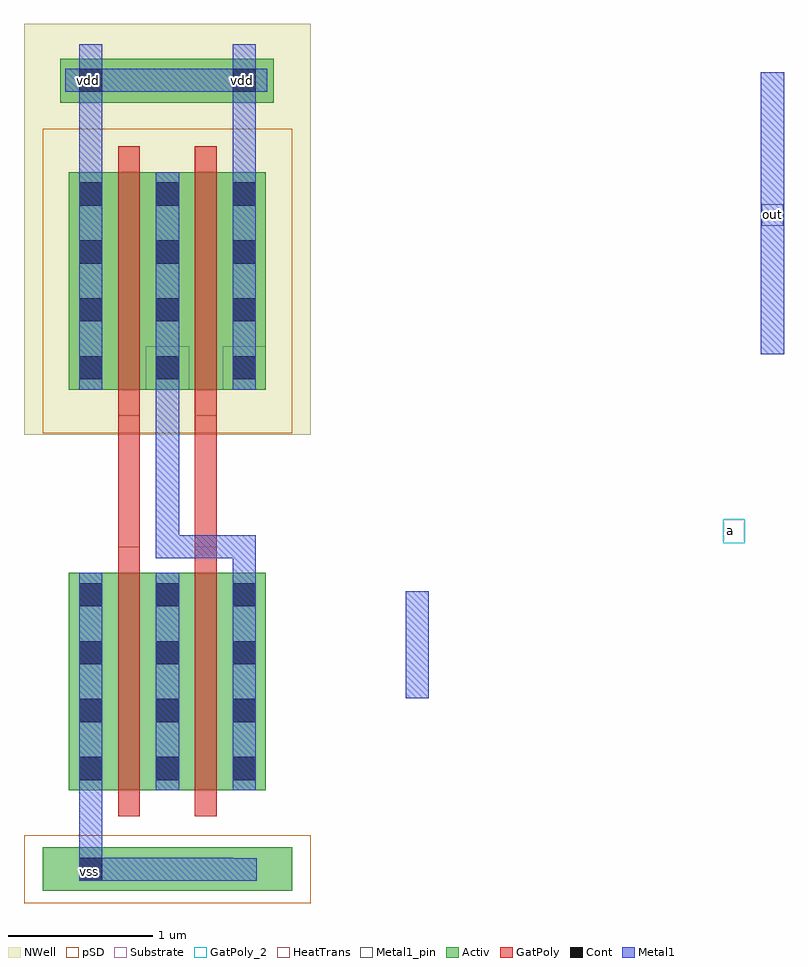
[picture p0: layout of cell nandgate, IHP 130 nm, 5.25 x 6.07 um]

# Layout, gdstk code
import gdstk
lib = gdstk.Library(unit=1e-6, precision=5e-09)
def R(c, l, rs):  # rectangles x0, y0, x1, y1
    for r in rs: c.add(gdstk.rectangle(r[:2], r[2:], *l))
def A(c, l, x, y, w, h, nx, ny, dx, dy):  # array of equal rectangles
    R(c, l, [(x+i*dx, y+j*dy, x+i*dx+w, y+j*dy+h) for i in range(nx) for j in range(ny)])
def P(c, l, *ps):  # polygons
    for p in ps: c.add(gdstk.Polygon(p, *l))
Activ = (1, 0)
GatPoly = (5, 0)
GatPoly_2 = (5, 2)
Cont = (6, 0)
Metal1 = (8, 0)
Metal1_pin = (8, 2)
pSD = (14, 0)
NWell = (31, 0)
Substrate = (40, 0)
HeatTrans = (51, 0)

pmos = lib.new_cell('pmos')
R(pmos, Activ, [(0,0,0.3,0.3), (0,0,0.83,1.5), (0.53,0,0.83,0.3)])
R(pmos, GatPoly, [(0.34,-0.18,0.49,1.68), (0.34,-0.18,0.49,1.68)])
A(pmos, Cont, 0.07, 0.07, 0.16, 0.16, 1, 4, 0, 0.4)
A(pmos, Cont, 0.6, 0.07, 0.16, 0.16, 1, 4, 0, 0.4)
R(pmos, Metal1, [(0.07,0,0.23,1.5), (0.07,0,0.23,1.5), (0.6,0,0.76,1.5), (0.6,0,0.76,1.5)])
R(pmos, pSD, [(-0.18,-0.3,1.01,1.8)])
R(pmos, NWell, [(-0.31,-0.31,1.14,1.81)])
R(pmos, Substrate, [(0.53,0,0.83,0.3)])
R(pmos, HeatTrans, [(0.34,-0.18,0.49,1.68)])
pmos.add(gdstk.Label('pmos', (0.415,0.75), layer=63, texttype=0))
pmos.add(gdstk.Label('pmos', (0.415,0.75), layer=51, texttype=0))

nmos_1 = lib.new_cell('nmos$1')
R(nmos_1, Activ, [(0,0,0.3,0.3), (0,0,0.83,1.5), (0.53,0,0.83,0.3)])
R(nmos_1, GatPoly, [(0.34,-0.18,0.49,1.68)])
R(nmos_1, GatPoly_2, [(0.34,-0.18,0.49,1.68)])
A(nmos_1, Cont, 0.07, 0.07, 0.16, 0.16, 1, 4, 0, 0.4)
A(nmos_1, Cont, 0.6, 0.07, 0.16, 0.16, 1, 4, 0, 0.4)
R(nmos_1, Metal1, [(0.07,0,0.23,1.5), (0.6,0,0.76,1.5)])
R(nmos_1, Metal1_pin, [(0.07,0,0.23,1.5), (0.6,0,0.76,1.5)])
R(nmos_1, HeatTrans, [(0.34,-0.18,0.49,1.68)])
nmos_1.add(gdstk.Label('nmos', (0.415,0.75), layer=63, texttype=0))
nmos_1.add(gdstk.Label('nmos', (0.415,0.75), layer=51, texttype=0))

nandgate = lib.new_cell('nandgate')
R(nandgate, Activ, [(-2.805,-2.995,-1.085,-2.695), (-2.685,2.445,-1.21,2.75)])
R(nandgate, GatPoly, [(-2.285,-0.62,-2.135,0.285), (-1.755,-0.62,-1.605,0.285)])
R(nandgate, GatPoly_2, [(1.89,-0.595,2.04,-0.43)])
R(nandgate, Cont, [(-2.555,-2.925,-2.395,-2.765), (-2.555,2.52,-2.395,2.68), (-1.495,2.52,-1.335,2.68)])
R(nandgate, Metal1, [(-0.3,-1.665,-0.14,-0.925), (2.15,0.71,2.31,2.655), (-2.555,1.965,-2.395,2.85), (-1.495,1.965,-1.335,2.85), (-2.65,2.52,-1.255,2.68)])
P(nandgate, Metal1, [(-2.025,0.465),(-2.025,0.465),(-1.865,0.465),(-1.865,0.465)])
R(nandgate, Metal1_pin, [(-2.555,-2.925,-2.395,-2.765), (2.155,1.595,2.305,1.745), (-2.555,2.52,-2.395,2.68), (-1.495,2.52,-1.335,2.68)])
R(nandgate, pSD, [(-2.935,-3.08,-0.955,-2.61)])
R(nandgate, NWell, [(-2.935,2.275,-0.955,2.99)])
nandgate.add(gdstk.FlexPath([(-1.945,0.465),(-1.945,-0.62),(-1.415,-0.62),(-1.415,-1.03),(-1.415,-1.16)], 0.16, ends="flush", simple_path=True, layer=8, datatype=0))  # Metal1
nandgate.add(gdstk.FlexPath([(-2.475,-2.07),(-2.475,-2.845),(-1.41,-2.845),(-1.41,-2.77)], 0.16, ends="flush", simple_path=True, layer=8, datatype=0))  # Metal1
nandgate.add(gdstk.Reference(pmos, (-2.095,0.465)))
nandgate.add(gdstk.Reference(pmos, (-2.625,0.465)))
nandgate.add(gdstk.Reference(nmos_1, (-2.625,-2.3)))
nandgate.add(gdstk.Reference(nmos_1, (-2.095,-2.3)))
nandgate.add(gdstk.Label('vdd', (-2.49,2.595), layer=8, texttype=2))
nandgate.add(gdstk.Label('vdd', (-1.43,2.595), layer=8, texttype=2))
nandgate.add(gdstk.Label('out', (2.23,1.67), layer=8, texttype=2))
nandgate.add(gdstk.Label('vss', (-2.485,-2.86), layer=8, texttype=2))
nandgate.add(gdstk.Label('a', (1.94,-0.51), layer=5, texttype=2))

lib.write_gds('nandgate.gds')
